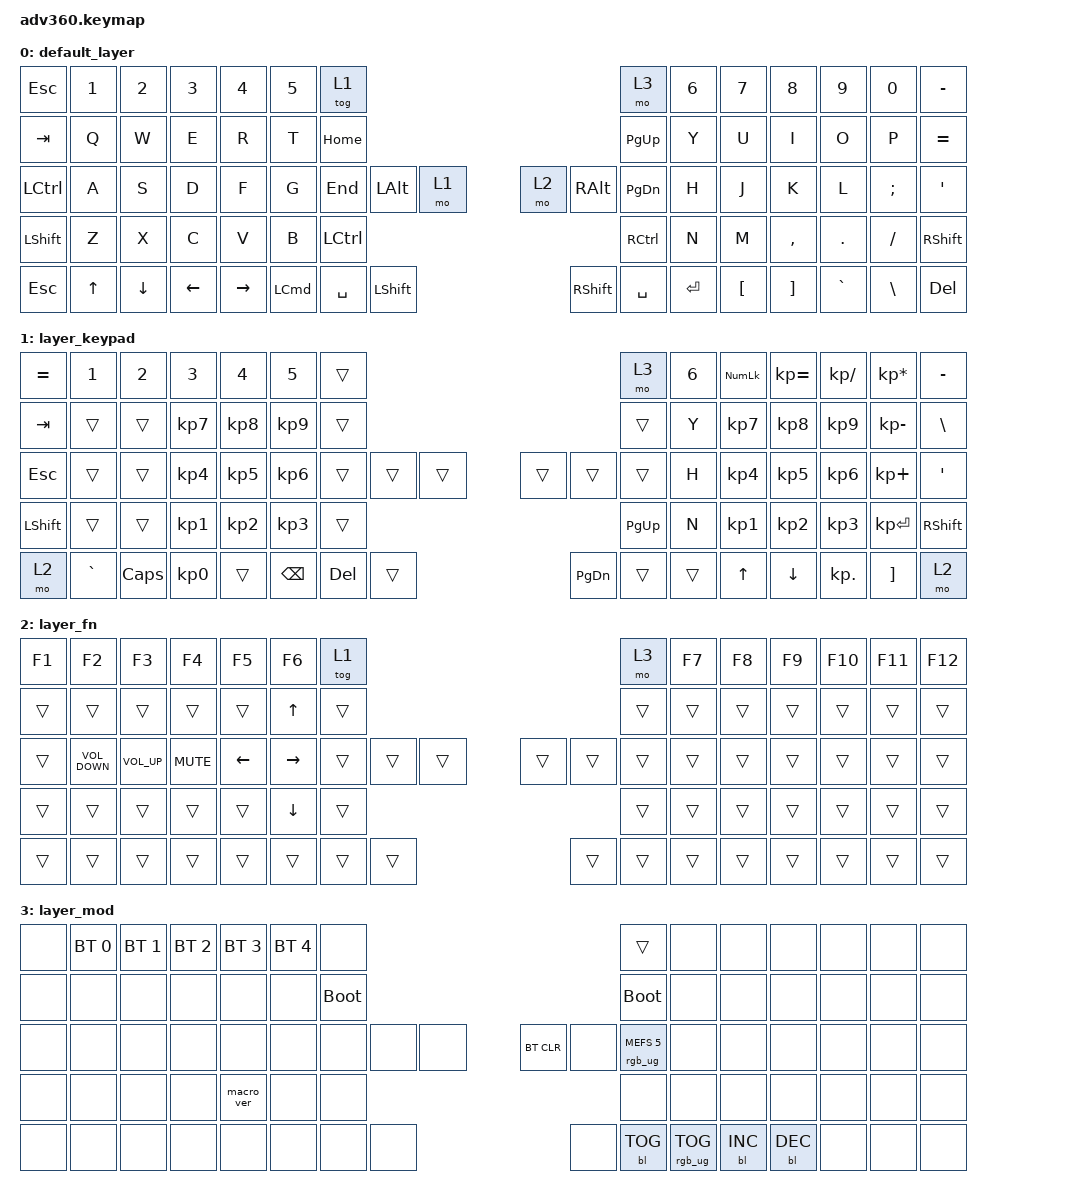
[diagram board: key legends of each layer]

/*
 * Copyright (c) 2020 The ZMK Contributors
 *
 * SPDX-License-Identifier: MIT
 */


/* THIS FILE WAS GENERATED!
 *
 * This file was generated automatically. You may or may not want to
 * edit it directly.
 */

#include <behaviors.dtsi>
#include <dt-bindings/zmk/keys.h>
#include <dt-bindings/zmk/bt.h>
#include <dt-bindings/zmk/rgb.h>
#include <dt-bindings/zmk/backlight.h>

/ {
  behaviors {
    #include "macros.dtsi"
    #include "version.dtsi"

    hm: homerow_mods {
        compatible = "zmk,behavior-hold-tap";
        label = "HOMEROW_MODS";
        #binding-cells = <2>;
        tapping-term-ms = <200>;
        quick_tap_ms = <175>;
        flavor = "tap-preferred";
        bindings = <&kp>, <&kp>;
    };
  };

    keymap {
        compatible = "zmk,keymap";


        default_layer {
            bindings = <
          &kp ESC  &kp N1    &kp N2    &kp N3     &kp N4  &kp N5                      &tog 1                                                                                            &mo 3  &kp N6    &kp N7     &kp N8     &kp N9         &kp N0         &kp MINUS
          &kp TAB   &kp Q     &kp W     &kp E      &kp R   &kp T                    &kp HOME                                                                                      &kp PAGE_UP   &kp Y     &kp U      &kp I      &kp O          &kp P         &kp EQUAL
 &kp LEFT_CONTROL   &kp A     &kp S     &kp D      &kp F   &kp G                     &kp END  &kp LEFT_ALT             &mo 1                              &mo 2  &kp RIGHT_ALT  &kp PAGE_DOWN   &kp H     &kp J      &kp K      &kp L       &kp SEMI  &kp SINGLE_QUOTE
   &kp LEFT_SHIFT   &kp Z     &kp X     &kp C      &kp V   &kp B                                            &kp LEFT_CONTROL                  &kp RIGHT_CONTROL                                 &kp N     &kp M  &kp COMMA    &kp DOT       &kp FSLH   &kp RIGHT_SHIFT
          &kp ESC  &kp UP  &kp DOWN  &kp LEFT  &kp RIGHT                    &kp LEFT_COMMAND     &kp SPACE    &kp LEFT_SHIFT                    &kp RIGHT_SHIFT      &kp SPACE     &kp RETURN          &kp LBKT   &kp RBKT  &kp GRAVE  &kp BACKSLASH        &kp DELETE
            >;
        };

        layer_keypad {
            bindings = <
 &kp EQUAL     &kp N1    &kp N2     &kp N3     &kp N4     &kp N5              &trans                                                       &mo 3  &kp N6  &kp KP_NUM  &kp KP_EQUAL  &kp KP_DIVIDE  &kp KP_MULTIPLY  &kp MINUS
   &kp TAB     &trans    &trans  &kp KP_N7  &kp KP_N8  &kp KP_N9              &trans                                                      &trans   &kp Y   &kp KP_N7     &kp KP_N8      &kp KP_N9     &kp KP_MINUS   &kp BSLH
   &kp ESC     &trans    &trans  &kp KP_N4  &kp KP_N5  &kp KP_N6              &trans   &trans  &trans                     &trans  &trans  &trans   &kp H   &kp KP_N4     &kp KP_N5      &kp KP_N6      &kp KP_PLUS    &kp SQT
 &kp LSHFT     &trans    &trans  &kp KP_N1  &kp KP_N2  &kp KP_N3                               &trans                  &kp PG_UP                   &kp N   &kp KP_N1     &kp KP_N2      &kp KP_N3     &kp KP_ENTER  &kp RSHFT
     &mo 2  &kp GRAVE  &kp CAPS  &kp KP_N0     &trans                       &kp BSPC  &kp DEL  &trans                  &kp PG_DN  &trans  &trans              &kp UP      &kp DOWN     &kp KP_DOT         &kp RBKT      &mo 2
            >;
        };

        layer_fn {
            bindings = <
 &kp F1             &kp F2           &kp F3      &kp F4    &kp F5     &kp F6            &tog 1                                                   &mo 3  &kp F7  &kp F8  &kp F9  &kp F10  &kp F11  &kp F12
 &trans             &trans           &trans      &trans    &trans     &kp UP            &trans                                                  &trans  &trans  &trans  &trans   &trans   &trans   &trans
 &trans  &kp C_VOLUME_DOWN  &kp C_VOLUME_UP  &kp C_MUTE  &kp LEFT  &kp RIGHT            &trans  &trans  &trans                  &trans  &trans  &trans  &trans  &trans  &trans   &trans   &trans   &trans
 &trans             &trans           &trans      &trans    &trans   &kp DOWN                            &trans                  &trans                  &trans  &trans  &trans   &trans   &trans   &trans
 &trans             &trans           &trans      &trans    &trans                       &trans  &trans  &trans                  &trans  &trans  &trans          &trans  &trans   &trans   &trans   &trans
            >;
        };

        layer_mod {
            bindings = <
  &none  &bt BT_SEL 0  &bt BT_SEL 1  &bt BT_SEL 2  &bt BT_SEL 3  &bt BT_SEL 4                  &none                                                                          &trans   &none       &none       &none   &none   &none   &none
  &none         &none         &none         &none         &none         &none            &bootloader                                                                     &bootloader   &none       &none       &none   &none   &none   &none
  &none         &none         &none         &none         &none         &none                  &none   &none   &none                  &bt BT_CLR       &none  &rgb_ug RGB_MEFS_CMD 5   &none       &none       &none   &none   &none   &none
  &none         &none         &none         &none    &macro_ver         &none                                  &none                       &none                                       &none       &none       &none   &none   &none   &none
  &none         &none         &none         &none         &none                                &none   &none   &none                       &none  &bl BL_TOG         &rgb_ug RGB_TOG          &bl BL_INC  &bl BL_DEC   &none   &none   &none
            >;
        };

    };
};
